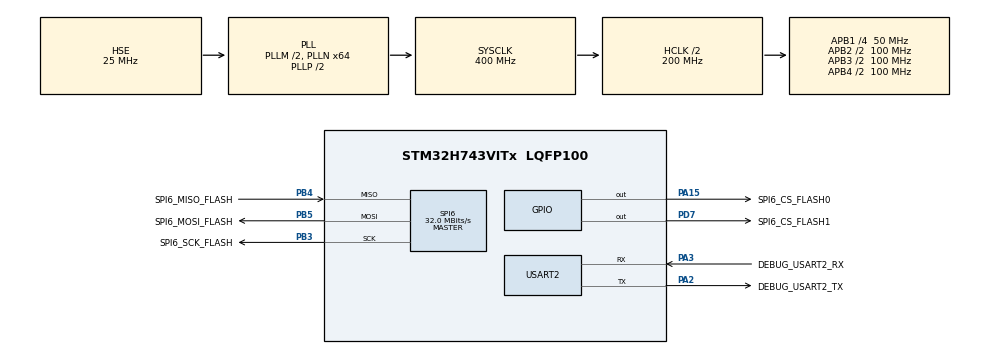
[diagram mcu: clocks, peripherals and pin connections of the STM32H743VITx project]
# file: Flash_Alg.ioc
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CORTEX_M7.AccessPermission-Cortex_Memory_Protection_Unit_Region2_Settings=MPU_REGION_FULL_ACCESS
CORTEX_M7.AccessPermission-Cortex_Memory_Protection_Unit_Region3_Settings=MPU_REGION_FULL_ACCESS
CORTEX_M7.BaseAddress-Cortex_Memory_Protection_Unit_Region2_Settings=0x30000000
CORTEX_M7.BaseAddress-Cortex_Memory_Protection_Unit_Region3_Settings=0x30020000
CORTEX_M7.CPU_DCache=Disabled
CORTEX_M7.CPU_ICache=Disabled
CORTEX_M7.Enable-Cortex_Memory_Protection_Unit_Region0_Settings=__NULL
CORTEX_M7.Enable-Cortex_Memory_Protection_Unit_Region1_Settings=__NULL
CORTEX_M7.Enable-Cortex_Memory_Protection_Unit_Region2_Settings=MPU_REGION_ENABLE
CORTEX_M7.Enable-Cortex_Memory_Protection_Unit_Region3_Settings=MPU_REGION_ENABLE
CORTEX_M7.IsCacheable-Cortex_Memory_Protection_Unit_Region2_Settings=MPU_ACCESS_CACHEABLE
CORTEX_M7.IsCacheable-Cortex_Memory_Protection_Unit_Region3_Settings=MPU_ACCESS_CACHEABLE
CORTEX_M7.IsShareable-Cortex_Memory_Protection_Unit_Region2_Settings=MPU_ACCESS_SHAREABLE
CORTEX_M7.IsShareable-Cortex_Memory_Protection_Unit_Region3_Settings=MPU_ACCESS_SHAREABLE
CORTEX_M7.MPU_Control=__NULL
CORTEX_M7.Size-Cortex_Memory_Protection_Unit_Region2_Settings=MPU_REGION_SIZE_128KB
CORTEX_M7.Size-Cortex_Memory_Protection_Unit_Region3_Settings=MPU_REGION_SIZE_128KB
CORTEX_M7.TypeExtField-Cortex_Memory_Protection_Unit_Region2_Settings=MPU_TEX_LEVEL1
CORTEX_M7.TypeExtField-Cortex_Memory_Protection_Unit_Region3_Settings=MPU_TEX_LEVEL1
Mcu.Family=STM32H7
Mcu.Name=STM32H743VITx
Mcu.Package=LQFP100
NVIC.PriorityGroup=NVIC_PRIORITYGROUP_4
PA13\ (JTMS/SWDIO).Mode=Serial_Wire
PA13\ (JTMS/SWDIO).Signal=DEBUG_JTMS-SWDIO
PA14\ (JTCK/SWCLK).Mode=Serial_Wire
PA14\ (JTCK/SWCLK).Signal=DEBUG_JTCK-SWCLK
PA15\ (JTDI).GPIO_Label=SPI6_CS_FLASH0
PA15\ (JTDI).GPIO_Speed=GPIO_SPEED_FREQ_MEDIUM
PA15\ (JTDI).PinState=GPIO_PIN_SET
PA15\ (JTDI).Signal=GPIO_Output
PA2.GPIO_Label=DEBUG_USART2_TX
PA2.Mode=Asynchronous
PA2.Signal=USART2_TX
PA3.GPIO_Label=DEBUG_USART2_RX
PA3.Mode=Asynchronous
PA3.Signal=USART2_RX
PB3\ (JTDO/TRACESWO).GPIO_Label=SPI6_SCK_FLASH
PB3\ (JTDO/TRACESWO).Mode=Full_Duplex_Master
PB3\ (JTDO/TRACESWO).Signal=SPI6_SCK
PB4\ (NJTRST).GPIO_Label=SPI6_MISO_FLASH
PB4\ (NJTRST).Mode=Full_Duplex_Master
PB4\ (NJTRST).Signal=SPI6_MISO
PB5.GPIO_Label=SPI6_MOSI_FLASH
PB5.Mode=Full_Duplex_Master
PB5.Signal=SPI6_MOSI
PC14-OSC32_IN\ (OSC32_IN).Mode=LSE-External-Oscillator
PC14-OSC32_IN\ (OSC32_IN).Signal=RCC_OSC32_IN
PC15-OSC32_OUT\ (OSC32_OUT).Mode=LSE-External-Oscillator
PC15-OSC32_OUT\ (OSC32_OUT).Signal=RCC_OSC32_OUT
PD7.GPIO_Label=SPI6_CS_FLASH1
PD7.GPIO_Speed=GPIO_SPEED_FREQ_MEDIUM
PD7.PinState=GPIO_PIN_SET
PD7.Signal=GPIO_Output
PH0-OSC_IN\ (PH0).Mode=HSE-External-Oscillator
PH0-OSC_IN\ (PH0).Signal=RCC_OSC_IN
PH1-OSC_OUT\ (PH1).Mode=HSE-External-Oscillator
PH1-OSC_OUT\ (PH1).Signal=RCC_OSC_OUT
ProjectManager.HeapSize=0xC000
ProjectManager.StackSize=0xA000
ProjectManager.TargetToolchain=MDK-ARM V5.32
RCC.ADCFreq_Value=2048000
RCC.APB1Freq_Value=50000000
RCC.APB2Freq_Value=100000000
RCC.APB3Freq_Value=100000000
RCC.APB4Freq_Value=100000000
RCC.CortexFreq_Value=400000000
RCC.D1PPRE=RCC_APB3_DIV2
RCC.D2PPRE1=RCC_APB1_DIV4
RCC.D2PPRE2=RCC_APB2_DIV2
RCC.D3PPRE=RCC_APB4_DIV2
RCC.DIVM1=2
RCC.DIVM2=25
RCC.DIVM3=25
RCC.DIVN1=64
RCC.DIVN2=256
RCC.DIVN3=246
RCC.DIVP2=125
RCC.DIVP3=10
RCC.DIVQ1=10
RCC.DIVQ2=4
RCC.HCLKFreq_Value=200000000
RCC.HPRE=RCC_HCLK_DIV2
RCC.HSE_VALUE=25000000
RCC.PLL1_VCI_Range-AdvancedSettings=RCC_PLL1VCIRANGE_0
RCC.PLL1_VCO_SEL-AdvancedSettings=RCC_PLL1VCOMEDIUM
RCC.PLL2FRACN=0
RCC.PLL3FRACN=0
RCC.PLLFRACN=0
RCC.PLLSourceVirtual=RCC_PLLSOURCE_HSE
RCC.SAI1CLockSelection=RCC_SAI1CLKSOURCE_PLL3
RCC.SAI23CLockSelection=RCC_SAI23CLKSOURCE_PLL3
RCC.SAI4ACLockSelection=RCC_SAI4ACLKSOURCE_PLL3
RCC.SPI6CLockSelection=RCC_SPI6CLKSOURCE_PLL2
RCC.SYSCLKFreq_VALUE=400000000
RCC.SYSCLKSource=RCC_SYSCLKSOURCE_PLLCLK
RCC.USBCLockSelection=RCC_USBCLKSOURCE_HSI48
RCC.USBFreq_Value=48000000
SPI6.CLKPhase=SPI_PHASE_2EDGE
SPI6.CLKPolarity=SPI_POLARITY_HIGH
SPI6.CalculateBaudRate=32.0 MBits/s
SPI6.DataSize=SPI_DATASIZE_8BIT
SPI6.Direction=SPI_DIRECTION_2LINES
SPI6.Mode=SPI_MODE_MASTER
SPI6.NSSPolarity=SPI_NSS_POLARITY_LOW
SPI6.VirtualType=VM_MASTER
USART2.VirtualMode-Asynchronous=VM_ASYNC
board=custom

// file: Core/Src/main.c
/* USER CODE BEGIN Header */
/**
  ******************************************************************************
  * @file           : main.c
  * @brief          : Main program body
  ******************************************************************************
  * @attention
  *
  * Copyright (c) 2022 STMicroelectronics.
  * All rights reserved.
  *
  * This software is licensed under terms that can be found in the LICENSE file
  * in the root directory of this software component.
  * If no LICENSE file comes with this software, it is provided AS-IS.
  *
  ******************************************************************************
  */
/* USER CODE END Header */
#include "main.h"
#include "spi.h"
#include "usart.h"
#include "gpio.h"

/* USER CODE BEGIN Includes */
#include <string.h>
/* USER CODE END Includes */

void SystemClock_Config(void);

/* USER CODE BEGIN 0 */
const uint16_t TEST_FLASH __attribute__((used)) __attribute__((section("USE_EXT_FLASH_2MB_BUF_SPACE"))) = 0x1010;
HAL_StatusTypeDef HAL_InitTick(uint32_t TickPriority)
{
  return HAL_OK;
}

uint32_t HAL_GetTick(void)
{
  static uint32_t ticks = 0U;
  uint32_t i;
  for(i = (SystemCoreClock >> 14U); i > 0U; i--)
  {
    __NOP(); __NOP(); __NOP(); __NOP(); __NOP(); __NOP();
    __NOP(); __NOP(); __NOP(); __NOP(); __NOP(); __NOP();
  }
  return ++ticks;
}

void HAL_Delay(uint32_t Delay)
{
  uint32_t tickstart = HAL_GetTick();
  uint32_t wait = Delay;
  if(wait < HAL_MAX_DELAY)
  {
    wait += (uint32_t)(HAL_TICK_FREQ_DEFAULT);
  }
  while((HAL_GetTick() - tickstart) < wait)
  {
    __NOP();
  }
}
#include "stdio.h"
#define DEBUG_UART          &huart2
#if defined (__CC_ARM)
  #pragma import(__use_no_semihosting) // 确保没有�? C 库链接使用半主机的函�?
#endif
struct __FILE // 标准库需要的支持函数
{
	int handle;
};
/* FILE is typedef �? d in stdio.h. */
FILE __stdout;
void _ttywrch(int ch)
{
  ch = ch;
}

void _sys_exit(int x) //定义 _sys_exit() 以避免使用半主机模式
{
  (void)x;
}

/************************************************************
  * @brief   重定向c库函数printf到HAL_UART_Transmit
  * @param   [in]ch 输出字符.
  * @param   [in]f 文件指针
  * @return  字符
  * @author  aron566
  * @date    2020/3/15
  * @version v1.0
  * @note    @@
  ***********************************************************/
int fputc(int ch, FILE *f)
{
  HAL_UART_Transmit(DEBUG_UART, (uint8_t *)&ch, 1, 0xFF);
  return ch;
}

/************************************************************
  * @brief   重定向c库函数getchar,scanf
  * @param   [in]f 文件指针
  * @return  字符
  * @author  aron566
  * @date    2020/3/15
  * @version v1.0
  * @note    @@
  ***********************************************************/
int fgetc(FILE *f)
{
  uint8_t ch = 0;
  while(HAL_UART_Receive(DEBUG_UART, (uint8_t *)&ch, 1, 0xFF) != HAL_OK);
  return ch;
}

#include "sfud.h"

#define SPI_FLASH_MEM_ADDR  0//0x09000000
static sfud_flash_t sfud_dev0 = NULL;
unsigned char aux_buf[4096];
/**
  ******************************************************************
  * @brief   Flash初始�?
  * @param   [in]None
  * @return  0成功
  * @author  aron566
  * @version V1.0
  * @date    2021-05-14
  ******************************************************************
  */
static int flash0_init(void)
{
#ifdef RT_USING_SFUD
  /* RT-Thread RTOS platform */
  sfud_dev0 = rt_sfud_flash_find_by_dev_name(FAL_USING_NOR_FLASH_DEV_NAME);
#else
  /* bare metal platform */
  sfud_dev0 = sfud_get_device(SFUD_GD25Q64C_DEVICE0_INDEX);
#endif

  if(NULL == sfud_dev0)
  {
    return -1;
  }

  return 0;
}

/**
  ******************************************************************
  * @brief   Flash读取
  * @param   [in]None
  * @return  读取大小
  * @author  aron566
  * @version V1.0
  * @date    2021-05-14
  ******************************************************************
  */
static int flash0_read(long offset, uint8_t *buf, size_t size)
{
  uint8_t status;
  // sfud_err ret;
  sfud_read_status(sfud_dev0, &status);
  // printf("fresh sfud_read Status: %d\r\n", ret);

  if(sfud_read(sfud_dev0, 512 * 1024 * 3 + offset, size, buf) != SFUD_SUCCESS)
  {
    return -1;
  }

  return size;
}

/**
  ******************************************************************
  * @brief   Flash写入
  * @param   [in]None
  * @return  写入大小
  * @author  aron566
  * @version V1.0
  * @date    2021-05-14
  ******************************************************************
  */
static int flash0_write(long offset, const uint8_t *buf, size_t size)
{
  uint8_t status;
  // sfud_err ret;
  sfud_read_status(sfud_dev0, &status);
  // printf("fresh sfud_write Status: %d\r\n", ret);

  if(sfud_write(sfud_dev0,  512 * 1024 * 3 + offset, size, buf) != SFUD_SUCCESS)
  {
    return -1;
  }

  return size;
}

/**
  ******************************************************************
  * @brief   Flash擦除
  * @param   [in]None
  * @return  擦除大小
  * @author  aron566
  * @version V1.0
  * @date    2021-05-14
  ******************************************************************
  */
static int flash0_erase(long offset, size_t size)
{
  uint8_t status;
  // sfud_err ret;
  sfud_read_status(sfud_dev0, &status);
  // printf("fresh sfud_erase Status: %d\r\n", ret);

  if(sfud_erase(sfud_dev0, 512 * 1024 * 3 + offset, size) != SFUD_SUCCESS)
  {
    return -1;
  }

  return size;
}
/* USER CODE END 0 */

int main(void)
{

  /* MCU Configuration--------------------------------------------------------*/

  /* Reset of all peripherals, Initializes the Flash interface and the Systick. */
  HAL_Init();

  /* Configure the system clock */
  SystemClock_Config();

  /* Initialize all configured peripherals */
  MX_GPIO_Init();
  MX_USART2_UART_Init();
  MX_SPI6_Init();
  /* USER CODE BEGIN 2 */
  /* 初始化Flash驱动 */
  if(sfud_init() != SFUD_SUCCESS)
  {
    return 1;
  }

  /* 初始化Flash驱动 */
  if(flash0_init() != 0)
  {
    return 1;
  }

  printf("Init OK.\r\n");

  flash0_erase(128*1024, 128*1024);
  uint8_t num[10] = {0xFF, 0x05,0x04,0x03,0x02,0x01,0x08,0x33,0x22,0x11};
  /*write*/
  flash0_write(128*1024, num, 10);
  uint8_t ret[10] = {0};
  /*read*/
  flash0_read(128*1024, ret, 10);
  /*compare*/
  if(memcmp(num, ret, 10) ==  0)
  {
    printf("Data Verify OK.\r\n");
  }
  uint16_t test = 0;
  flash0_read(0, (uint8_t *)&test, 2);
  printf("test: 0x1010 =? 0x%04X\r\n", test);
  /* USER CODE END 2 */

  /* Infinite loop */
  while (1)
  {

  }
}

void SystemClock_Config(void)
{
  RCC_OscInitTypeDef RCC_OscInitStruct = {0};
  RCC_ClkInitTypeDef RCC_ClkInitStruct = {0};

  /** Supply configuration update enable
  */
  HAL_PWREx_ConfigSupply(PWR_LDO_SUPPLY);

  /** Configure the main internal regulator output voltage
  */
  __HAL_PWR_VOLTAGESCALING_CONFIG(PWR_REGULATOR_VOLTAGE_SCALE1);

  while(!__HAL_PWR_GET_FLAG(PWR_FLAG_VOSRDY)) {}

  /** Macro to configure the PLL clock source
  */
  __HAL_RCC_PLL_PLLSOURCE_CONFIG(RCC_PLLSOURCE_HSE);

  /** Initializes the RCC Oscillators according to the specified parameters
  * in the RCC_OscInitTypeDef structure.
  */
  RCC_OscInitStruct.OscillatorType = RCC_OSCILLATORTYPE_HSE;
  RCC_OscInitStruct.HSEState = RCC_HSE_ON;
  RCC_OscInitStruct.PLL.PLLState = RCC_PLL_ON;
  RCC_OscInitStruct.PLL.PLLSource = RCC_PLLSOURCE_HSE;
  RCC_OscInitStruct.PLL.PLLM = 2;
  RCC_OscInitStruct.PLL.PLLN = 64;
  RCC_OscInitStruct.PLL.PLLP = 2;
  RCC_OscInitStruct.PLL.PLLQ = 10;
  RCC_OscInitStruct.PLL.PLLR = 2;
  RCC_OscInitStruct.PLL.PLLRGE = RCC_PLL1VCIRANGE_3;
  RCC_OscInitStruct.PLL.PLLVCOSEL = RCC_PLL1VCOWIDE;
  RCC_OscInitStruct.PLL.PLLFRACN = 0;
  if (HAL_RCC_OscConfig(&RCC_OscInitStruct) != HAL_OK)
  {
    Error_Handler();
  }

  /** Initializes the CPU, AHB and APB buses clocks
  */
  RCC_ClkInitStruct.ClockType = RCC_CLOCKTYPE_HCLK|RCC_CLOCKTYPE_SYSCLK
                              |RCC_CLOCKTYPE_PCLK1|RCC_CLOCKTYPE_PCLK2
                              |RCC_CLOCKTYPE_D3PCLK1|RCC_CLOCKTYPE_D1PCLK1;
  RCC_ClkInitStruct.SYSCLKSource = RCC_SYSCLKSOURCE_PLLCLK;
  RCC_ClkInitStruct.SYSCLKDivider = RCC_SYSCLK_DIV1;
  RCC_ClkInitStruct.AHBCLKDivider = RCC_HCLK_DIV2;
  RCC_ClkInitStruct.APB3CLKDivider = RCC_APB3_DIV2;
  RCC_ClkInitStruct.APB1CLKDivider = RCC_APB1_DIV4;
  RCC_ClkInitStruct.APB2CLKDivider = RCC_APB2_DIV2;
  RCC_ClkInitStruct.APB4CLKDivider = RCC_APB4_DIV2;

  if (HAL_RCC_ClockConfig(&RCC_ClkInitStruct, FLASH_LATENCY_2) != HAL_OK)
  {
    Error_Handler();
  }
}

void Error_Handler(void)
{
  __disable_irq();
  while (1)
  {
  }
}
